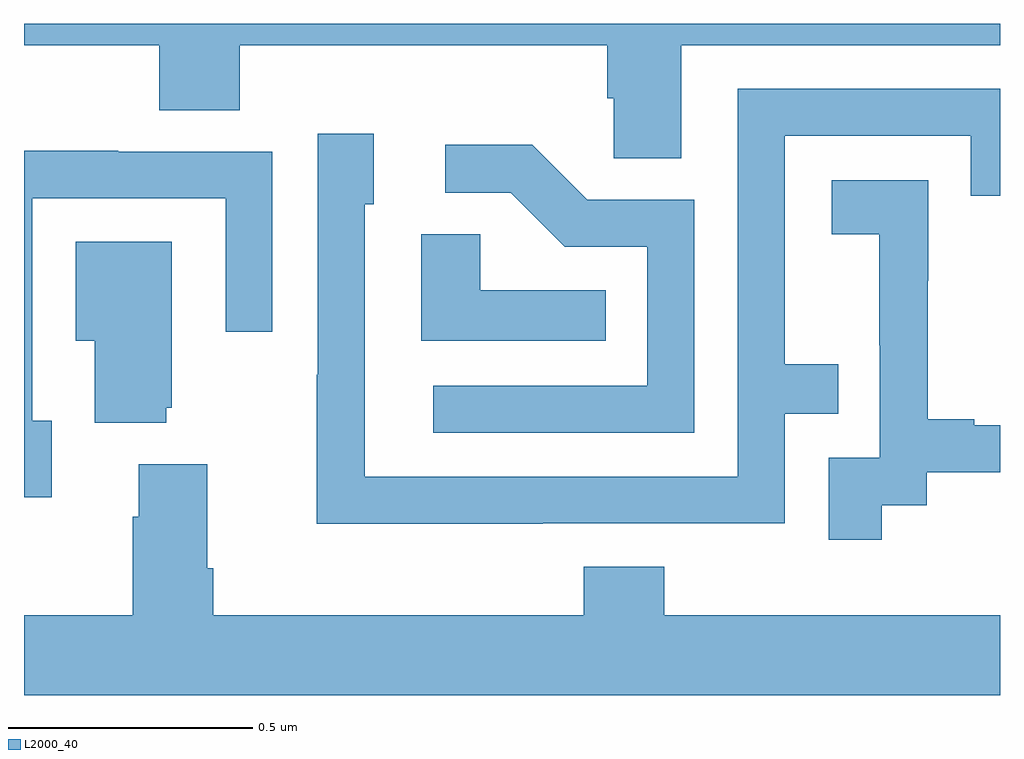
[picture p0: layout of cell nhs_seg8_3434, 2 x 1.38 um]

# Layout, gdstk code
import gdstk
lib = gdstk.Library(unit=1e-6, precision=1e-09)
def P(c, l, *ps):  # polygons
    for p in ps: c.add(gdstk.Polygon(p, *l))
L2000_40 = (2000, 40)

nhs_seg8_3434 = lib.new_cell('nhs_seg8_3434')
P(nhs_seg8_3434, L2000_40, [(158.347,1093.856),(159,1093.856),(159,1093.9),(157,1093.9),(157,1093.856),(157.277,1093.856),(157.277,1093.723),(157.442,1093.723),(157.442,1093.856),(158.195,1093.856),(158.195,1093.747),(158.208,1093.747),(158.208,1093.624),(158.347,1093.624)],
  [(158.063,1092.876),(158.559,1092.876),(158.559,1093.101),(158.669,1093.101),(158.669,1093.202),(158.559,1093.202),(158.559,1093.671),(158.94,1093.671),(158.94,1093.548),(159,1093.548),(159,1093.767),(158.463,1093.767),(158.463,1092.972),(157.698,1092.972),(157.698,1093.53),(157.717,1093.53),(157.717,1093.675),(157.602,1093.675),(157.602,1093.181),(157.6,1093.181),(157.6,1092.875),(158.063,1092.875)],
  [(158.373,1093.539),(158.154,1093.539),(158.041,1093.652),(157.863,1093.652),(157.863,1093.554),(157.997,1093.554),(158.108,1093.443),(158.277,1093.443),(158.277,1093.158),(157.839,1093.158),(157.839,1093.062),(158.373,1093.062)],
  [(157.057,1093.086),(157.017,1093.086),(157.017,1093.542),(157.413,1093.542),(157.413,1093.269),(157.509,1093.269),(157.509,1093.638),(157.193,1093.638),(157.193,1093.64),(157,1093.64),(157,1092.93),(157.057,1092.93)],
  [(158.758,1092.913),(158.85,1092.913),(158.85,1092.981),(159,1092.981),(159,1093.077),(158.947,1093.077),(158.947,1093.09),(158.852,1093.09),(158.852,1093.373),(158.853,1093.373),(158.853,1093.579),(158.655,1093.579),(158.655,1093.469),(158.753,1093.469),(158.753,1093.241),(158.754,1093.241),(158.754,1093.011),(158.649,1093.011),(158.649,1092.843),(158.758,1092.843)],
  [(158.192,1093.354),(157.935,1093.354),(157.935,1093.469),(157.814,1093.469),(157.814,1093.25),(158.192,1093.25)],
  [(157.292,1093.113),(157.303,1093.113),(157.303,1093.453),(157.106,1093.453),(157.106,1093.25),(157.145,1093.25),(157.145,1093.082),(157.292,1093.082)],
  [(159,1092.688),(158.312,1092.688),(158.312,1092.787),(158.147,1092.787),(158.147,1092.688),(157.388,1092.688),(157.388,1092.784),(157.375,1092.784),(157.375,1092.997),(157.235,1092.997),(157.235,1092.89),(157.223,1092.89),(157.223,1092.688),(157,1092.688),(157,1092.524),(159,1092.524)])

lib.write_gds('nhs_seg8_3434.gds')
